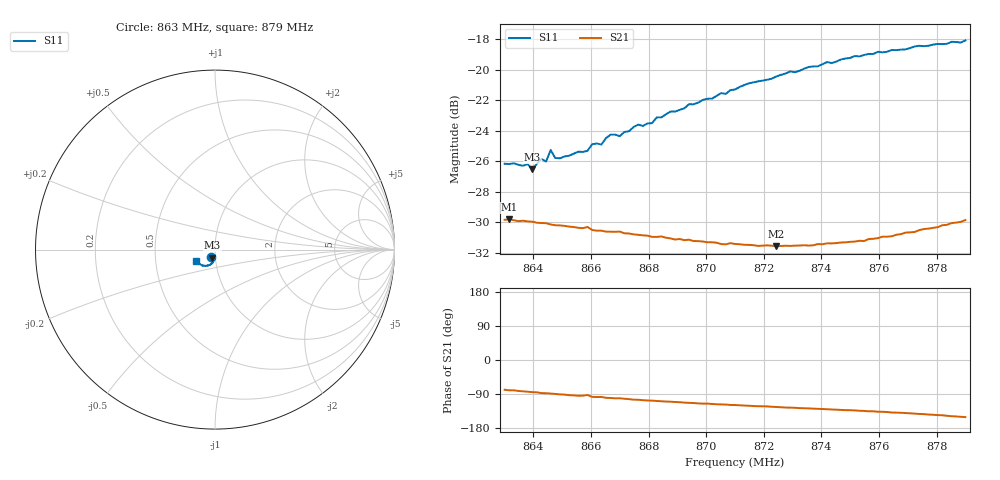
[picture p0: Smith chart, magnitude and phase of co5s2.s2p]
# HZ S RI R 50
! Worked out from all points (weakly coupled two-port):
!   101 points, 863 MHz to 879 MHz, reference 50 ohm
!   highest |S21| = -29.82 dB at 863.16 MHz (marker M1); lowest = -31.6 dB at 872.44 MHz (marker M2)
!   lowest |S11| = -26.5 dB at 863.96 MHz (marker M3), VSWR 1.10, Z = 48.3 - j4.32 ohm
!   |S11| at or under -10 dB: start of sweep to end of sweep
!   S12 and S22 are empty: the file has one direction only
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8.63e8  -0.022 -0.0439  0.00642 -0.0315  0 0  0 0
8.6316e8  -0.0201 -0.0447  0.00565 -0.0318  0 0  0 0
8.638e8  -0.0179 -0.0456  0.00352 -0.0316  0 0  0 0
8.6396e8  -0.0152 -0.0447  0.0029 -0.0316  0 0  0 0
8.6428e8  -0.0158 -0.0484  0.00148 -0.0314  0 0  0 0
8.6444e8  -0.0154 -0.0475  0.00128 -0.0313  0 0  0 0
8.646e8  -0.018 -0.0514  0.000754 -0.0311  0 0  0 0
8.6476e8  -0.0156 -0.0489  0.000228 -0.0309  0 0  0 0
8.6492e8  -0.0131 -0.0495  -0.000425 -0.0308  0 0  0 0
8.6572e8  -0.00873 -0.053  -0.00214 -0.0301  0 0  0 0
8.6604e8  -0.0113 -0.0558  -0.00376 -0.0296  0 0  0 0
8.6636e8  -0.0105 -0.0558  -0.00388 -0.0294  0 0  0 0
8.6668e8  -0.012 -0.06  -0.00521 -0.0289  0 0  0 0
8.67e8  -0.00871 -0.0599  -0.00563 -0.0289  0 0  0 0
8.6764e8  -0.0124 -0.0649  -0.00742 -0.0278  0 0  0 0
8.6812e8  -0.0112 -0.0658  -0.00836 -0.027  0 0  0 0
8.6844e8  -0.0121 -0.0687  -0.00919 -0.0268  0 0  0 0
8.71e8  -0.0244 -0.0825  -0.0129 -0.0235  0 0  0 0
8.7244e8  -0.0364 -0.0878  -0.0148 -0.0219  0 0  0 0
8.7372e8  -0.0478 -0.0906  -0.0165 -0.0208  0 0  0 0
8.7644e8  -0.0794 -0.0846  -0.0213 -0.0188  0 0  0 0
8.79e8  -0.1059 -0.0657  -0.028 -0.0157  0 0  0 0
